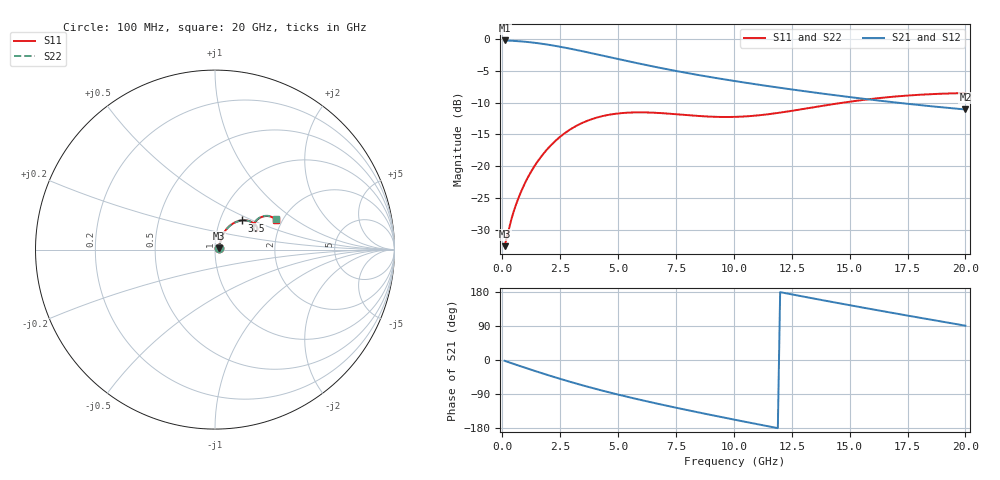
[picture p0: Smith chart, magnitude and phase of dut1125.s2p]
! Touchstone file exported from HFSS 2024.1.0
!  File:  C:/UserFiles/LocalFiles/RDL_TSV_Batchsim/temp_RDL_TSV_1125_1780107883.aedt
!  Generated:  10:41:10 AM May 30, 2026
!  Design:  RDL_TSV
!  Project:  temp_RDL_TSV_1125_1780107883
!  Setup:  Setup1
!  Solution:  Sweep
! Variables:
!  dtsv = 6.45um
!  hbump = 3um
!  htsv = 85.57um
!  ldown = 587.92um
!  lrdl = 564.72um
!  p = 40
!  p1 = 44.26um
!  rhole = 10um
!  subl = 4022.64um
!  t = 450um
!  tdown = 2.95um
!  trdl = 4.65um
!  viad = 10um
!  wdown = 22.88um
!  wrdl = 15.07um
!  xbump = 18um
# GHz S MA R 50.000000
! Terminal data exported
! Port[1] = TM1_1_T1
! Port[2] = TM1_4_T1
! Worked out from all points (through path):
!   200 points, 100 MHz to 20 GHz, reference 50 ohm
!   highest |S21| = -0.20 dB at 100 MHz (marker M1); lowest = -11.1 dB at 20 GHz (marker M2)
!   group delay of S21, straight-line fit = 35.8 ps
!   lowest |S11| = -32.6 dB at 100 MHz (marker M3), VSWR 1.05, Z = 52.3 + j0.814 ohm
!   |S11| at or under -10 dB: start of sweep to 14.7 GHz
!   |S22| runs from -32.6 to -8.5 dB; largest |S21 - S12| = 9.3e-15
!   S11 on the Smith chart (normalised r, x): 100 MHz: 1.05, +0.02; 3.5 GHz: 1.27, +0.43; 20 GHz: 1.84, +0.71
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0.1  0.02345 19.4  0.9778 -2.2  0.9778 -2.2  0.02346 19.4
! Gamma 0 0 0 0
! Port Impedance 50 0 50 0
0.4  0.03863 47.2  0.9725 -8.5  0.9725 -8.5  0.03864 47.2
0.7  0.0562 56.6  0.9649 -14.6  0.9649 -14.6  0.05621 56.5
1  0.07483 60.6  0.9548 -20.7  0.9548 -20.7  0.07483 60.5
1.4  0.1007 62.0  0.9374 -28.7  0.9374 -28.7  0.1007 61.9
1.9  0.1335 60.5  0.9104 -38.5  0.9104 -38.5  0.1333 60.4
2.4  0.1648 57.1  0.8789 -47.9  0.8789 -47.9  0.1646 57.0
2.9  0.193 52.9  0.8446 -57.0  0.8446 -57.0  0.1927 52.8
3.5  0.2211 47.4  0.8018 -67.4  0.8018 -67.4  0.2206 47.2
4.2  0.2448 41.1  0.7521 -78.9  0.7521 -78.9  0.2441 40.9
5.1  0.2614 34.0  0.6919 -92.7  0.6919 -92.7  0.2605 33.9
5.9  0.2655 29.2  0.6435 -104.3  0.6435 -104.3  0.2644 29.1
6.8  0.2623 25.5  0.5955 -116.7  0.5955 -116.7  0.261 25.5
7.6  0.2559 24.0  0.5581 -127.2  0.5581 -127.2  0.2544 24.0
8.4  0.2492 24.1  0.5251 -137.4  0.5251 -137.4  0.2477 24.1
10.1  0.2447 28.1  0.4665 -158.4  0.4665 -158.4  0.2433 28.2
11.6  0.2581 32.6  0.4243 -176.3  0.4243 -176.3  0.257 32.9
13.4  0.2902 35.3  0.382 162.7  0.382 162.7  0.2896 35.6
15  0.322 34.7  0.3502 144.6  0.3502 144.6  0.3218 35.0
16.7  0.3501 32.2  0.3217 125.9  0.3217 125.9  0.3503 32.5
18.3  0.3677 29.2  0.2993 108.6  0.2993 108.6  0.368 29.4
20  0.3765 26.2  0.2798 90.6  0.2798 90.6  0.377 26.4
